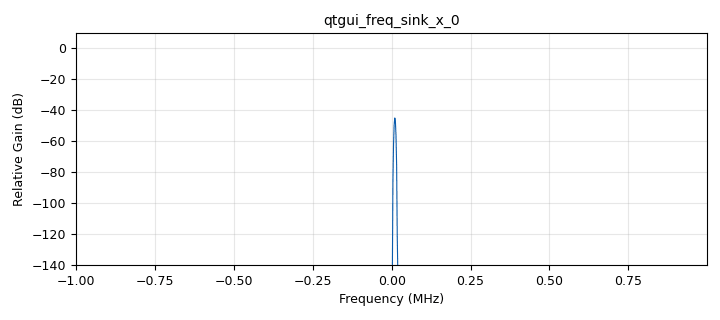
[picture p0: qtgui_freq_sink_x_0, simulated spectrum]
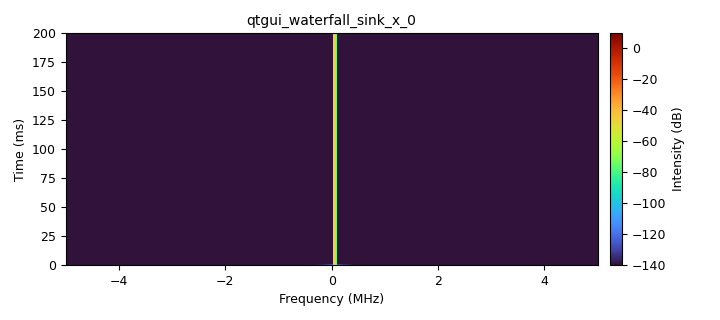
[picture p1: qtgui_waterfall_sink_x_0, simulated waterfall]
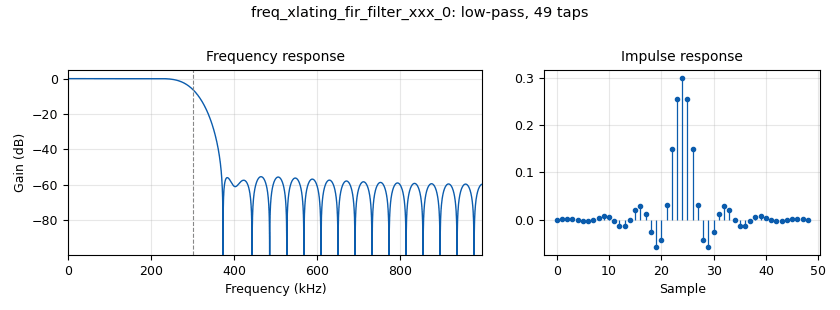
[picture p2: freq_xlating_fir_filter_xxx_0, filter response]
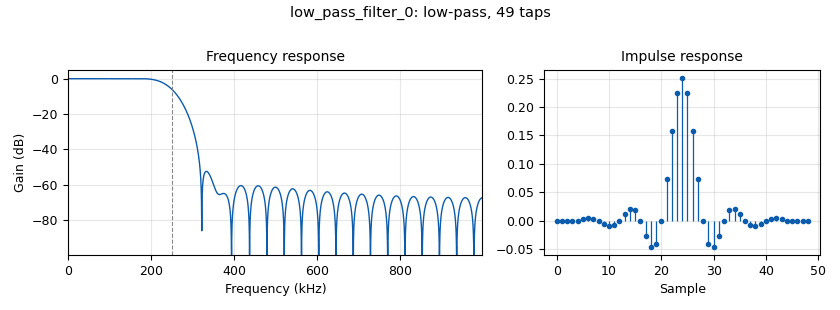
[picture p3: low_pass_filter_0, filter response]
options:
  parameters:
    generate_options: qt_gui
    id: drone_signal_simulation_v1
    output_language: python
    title: Not titled yet
  states: {}

blocks:
- name: SNR_dB
  id: variable
  parameters:
    value: '10'
  states: {}
- name: samp_rate
  id: variable
  parameters:
    value: 2e6
  states: {}
- name: GMSKDETECTOR
  id: qtgui_number_sink
  parameters:
    graph_type: qtgui.NUM_GRAPH_NONE
    name: '"0 - BRUIT 1 - AM 2 FSK - 3 GMSK"'
    type: float
  states: {}
- name: analog_noise_source_x_0
  id: analog_noise_source_x
  parameters:
    amp: '1e-7'
    noise_type: analog.GR_GAUSSIAN
    seed: '0'
    type: complex
  states: {state: disabled}
- name: analog_noise_source_x_1
  id: analog_noise_source_x
  parameters:
    amp: '1'
    noise_type: analog.GR_GAUSSIAN
    seed: '0'
    type: complex
  states: {state: disabled}
- name: analog_random_source_x_0
  id: analog_random_source_x
  parameters:
    max: '4'
    min: '0'
    num_samps: '1000'
    repeat: 'True'
    type: byte
  states: {state: disabled}
- name: analog_sig_source_x_0
  id: analog_sig_source_x
  parameters:
    amp: '1'
    freq: '100'
    offset: '0'
    phase: '0'
    samp_rate: samp_rate
    type: complex
    waveform: analog.GR_COS_WAVE
  states: {}
- name: analog_sig_source_x_0_0
  id: analog_sig_source_x
  parameters:
    amp: '1'
    freq: '10000'
    offset: '0'
    phase: '0'
    samp_rate: samp_rate
    type: complex
    waveform: analog.GR_COS_WAVE
  states: {}
- name: average_emitted_power
  id: qtgui_number_sink
  parameters:
    graph_type: qtgui.NUM_GRAPH_NONE
    name: '"average_emitted_power_amplitude"'
    type: float
  states: {}
- name: blocks_add_xx_0
  id: blocks_add_xx
  parameters:
    type: complex
  states: {state: disabled}
- name: blocks_char_to_float_0
  id: blocks_char_to_float
  parameters:
    scale: '1'
  states: {state: disabled}
- name: blocks_complex_to_mag_squared_0
  id: blocks_complex_to_mag_squared
  parameters: {}
  states: {}
- name: blocks_moving_average_xx_0
  id: blocks_moving_average_xx
  parameters:
    length: '1000'
    max_iter: '4000'
    scale: '1'
    type: float
  states: {}
- name: blocks_multiply_const_vxx_0
  id: blocks_multiply_const_vxx
  parameters:
    const: '0.016'
    type: complex
  states: {}
- name: blocks_multiply_const_vxx_1
  id: blocks_multiply_const_vxx
  parameters:
    const: '0.0001'
    type: complex
  states: {state: disabled}
- name: blocks_multiply_xx_0
  id: blocks_multiply_xx
  parameters:
    type: complex
  states: {}
- name: blocks_throttle2_0
  id: blocks_throttle2
  parameters:
    samples_per_second: 32e3
    type: complex
  states: {}
- name: blocks_unpacked_to_packed_xx_0
  id: blocks_unpacked_to_packed_xx
  parameters:
    bits_per_chunk: '1'
    endianness: gr.GR_MSB_FIRST
    type: byte
  states: {state: disabled}
- name: blocks_unpacked_to_packed_xx_1
  id: blocks_unpacked_to_packed_xx
  parameters:
    bits_per_chunk: '8'
    endianness: gr.GR_MSB_FIRST
    type: byte
  states: {state: disabled}
- name: blocks_vector_source_x_0
  id: blocks_vector_source_x
  parameters:
    repeat: 'True'
    type: byte
    vector: (1, 0, 1, 0)
  states: {state: disabled}
- name: digital_gfsk_mod_0
  id: digital_gfsk_mod
  parameters:
    bt: '10'
    samples_per_symbol: '4'
    sensitivity: '1.0'
  states: {state: disabled}
- name: digital_gmsk_demod_0
  id: digital_gmsk_demod
  parameters:
    freq_error: '0.0'
    gain_mu: '0.175'
    mu: '0.5'
    omega_relative_limit: '0.005'
    samples_per_symbol: '4'
  states: {state: disabled}
- name: digital_gmsk_mod_0
  id: digital_gmsk_mod
  parameters:
    bt: '0.35'
    samples_per_symbol: '4'
  states: {state: disabled}
- name: epy_block_1
  id: epy_block
  parameters:
    _source_code: |
      import numpy as np
      from gnuradio import gr


      class blk(gr.sync_block):

          def __init__(self,
                       window_size=500,
                       power_db_threshold=-40):

              gr.sync_block.__init__(
                  self,
                  name="Stable RF Classifier",
                  in_sig=[np.complex64],
                  out_sig=[np.float32]
              )

              self.window_size = window_size
              self.power_db_threshold = power_db_threshold

              self.buf = np.zeros(window_size, dtype=np.complex64)
              self.idx = 0

              self.label = 0.0

          def work(self, input_items, output_items):

              x = input_items[0]
              y = output_items[0]

              for i in range(len(x)):

                  self.buf[self.idx] = x[i]
                  self.idx += 1

                  if self.idx >= self.window_size:
                      self.idx = 0

                      # -------------------------
                      # NORMALISATION PUISSANCE
                      # -------------------------
                      power = np.mean(np.abs(self.buf)**2)
                      power_db = 10 * np.log10(power + 1e-12)

                      # -------------------------
                      # PHASE FEATURES
                      # -------------------------
                      phase = np.unwrap(np.angle(self.buf))
                      dphase = np.diff(phase)

                      mean_dphi = np.mean(np.abs(dphase))
                      var_dphi = np.var(dphase)

                      # -------------------------
                      # DEBUG (important)
                      # -------------------------
                      print(f"Pdb={power_db:.2f}, dphi={mean_dphi:.3f}, var={var_dphi:.3f}")

                      # -------------------------
                      # CLASSIFICATION LOGIQUE
                      # -------------------------

                      # 1. NOISE
                      if power_db < self.power_db_threshold:
                          self.label = 0.0

                      else:
                          # 2. AM
                          if mean_dphi < 0.1:
                              self.label = 1.0

                          else:
                              # 3. FSK vs GMSK vs NOISE FM
                              if mean_dphi > 0.55:
                                  # FSK check robuste
                                  if var_dphi > 0.6:
                                      self.label = 2.0
                                  else:
                                      self.label = 0.0  # bruit FM mal structuré

                              elif mean_dphi < 0.35:
                                  self.label = 3.0  # GMSK

                              else:
                                  self.label = 0.0  # noise zone intermédiaire

                  y[i] = self.label

              return len(y)
    power_db_threshold: '-44'
    window_size: '500'
  states: {}
- name: freq_xlating_fir_filter_xxx_0
  id: freq_xlating_fir_filter_xxx
  parameters:
    center_freq: '0'
    decim: '1'
    samp_rate: samp_rate
    taps: firdes.low_pass(1,2e6,300e3,100e3)
    type: ccc
  states: {}
- name: low_pass_filter_0
  id: low_pass_filter
  parameters:
    cutoff_freq: 250e3
    decim: '1'
    gain: '1'
    samp_rate: samp_rate
    type: fir_filter_ccf
    width: 100e3
    win: window.WIN_HAMMING
  states: {}
- name: low_pass_filter_1
  id: low_pass_filter
  parameters:
    cutoff_freq: 300e3
    decim: '1'
    gain: '1'
    samp_rate: samp_rate
    type: fir_filter_ccf
    width: 100e3
    win: window.WIN_HAMMING
  states: {state: disabled}
- name: qtgui_const_sink_x_0
  id: qtgui_const_sink_x
  parameters:
    size: '1024'
    type: complex
  states: {state: disabled}
- name: qtgui_eye_sink_x_0
  id: qtgui_eye_sink_x
  parameters:
    samp_per_symbol: '4'
    size: '1024'
    srate: samp_rate
    type: complex
  states: {state: disabled}
- name: qtgui_freq_sink_x_0
  id: qtgui_freq_sink_x
  parameters:
    bw: samp_rate
    fc: '0'
    fftsize: '1024'
    type: complex
  states: {}
- name: qtgui_freq_sink_x_0_0
  id: qtgui_freq_sink_x
  parameters:
    bw: samp_rate
    fc: '0'
    fftsize: '1024'
    type: complex
  states: {state: disabled}
- name: qtgui_time_sink_x_0
  id: qtgui_time_sink_x
  parameters:
    size: '1024'
    srate: samp_rate
    type: float
  states: {state: disabled}
- name: qtgui_waterfall_sink_x_0
  id: qtgui_waterfall_sink_x
  parameters:
    bw: 10e6
    fc: '0'
    fftsize: '1024'
    type: complex
  states: {}

connections:
- [analog_noise_source_x_0, '0', blocks_add_xx_0, '1']
- [analog_noise_source_x_1, '0', blocks_throttle2_0, '0']
- [analog_random_source_x_0, '0', blocks_unpacked_to_packed_xx_0, '0']
- [analog_sig_source_x_0, '0', blocks_multiply_xx_0, '0']
- [analog_sig_source_x_0_0, '0', blocks_multiply_xx_0, '1']
- [blocks_add_xx_0, '0', qtgui_freq_sink_x_0_0, '0']
- [blocks_char_to_float_0, '0', qtgui_time_sink_x_0, '0']
- [blocks_complex_to_mag_squared_0, '0', blocks_moving_average_xx_0, '0']
- [blocks_moving_average_xx_0, '0', average_emitted_power, '0']
- [blocks_multiply_const_vxx_0, '0', blocks_complex_to_mag_squared_0, '0']
- [blocks_multiply_const_vxx_0, '0', blocks_multiply_const_vxx_1, '0']
- [blocks_multiply_const_vxx_0, '0', digital_gmsk_demod_0, '0']
- [blocks_multiply_const_vxx_0, '0', epy_block_1, '0']
- [blocks_multiply_const_vxx_0, '0', low_pass_filter_1, '0']
- [blocks_multiply_const_vxx_0, '0', qtgui_eye_sink_x_0, '0']
- [blocks_multiply_const_vxx_0, '0', qtgui_freq_sink_x_0, '0']
- [blocks_multiply_const_vxx_0, '0', qtgui_waterfall_sink_x_0, '0']
- [blocks_multiply_const_vxx_1, '0', blocks_add_xx_0, '0']
- [blocks_multiply_xx_0, '0', blocks_throttle2_0, '0']
- [blocks_throttle2_0, '0', low_pass_filter_0, '0']
- [blocks_unpacked_to_packed_xx_0, '0', digital_gfsk_mod_0, '0']
- [blocks_unpacked_to_packed_xx_0, '0', digital_gmsk_mod_0, '0']
- [blocks_unpacked_to_packed_xx_1, '0', blocks_char_to_float_0, '0']
- [blocks_vector_source_x_0, '0', blocks_unpacked_to_packed_xx_0, '0']
- [digital_gfsk_mod_0, '0', blocks_throttle2_0, '0']
- [digital_gmsk_demod_0, '0', blocks_unpacked_to_packed_xx_1, '0']
- [digital_gmsk_mod_0, '0', blocks_throttle2_0, '0']
- [digital_gmsk_mod_0, '0', qtgui_const_sink_x_0, '0']
- [epy_block_1, '0', GMSKDETECTOR, '0']
- [freq_xlating_fir_filter_xxx_0, '0', blocks_multiply_const_vxx_0, '0']
- [low_pass_filter_0, '0', freq_xlating_fir_filter_xxx_0, '0']
- [low_pass_filter_1, '0', epy_block_1, '0']

metadata:
  file_format: 1
  grc_version: 3.10.11.0
